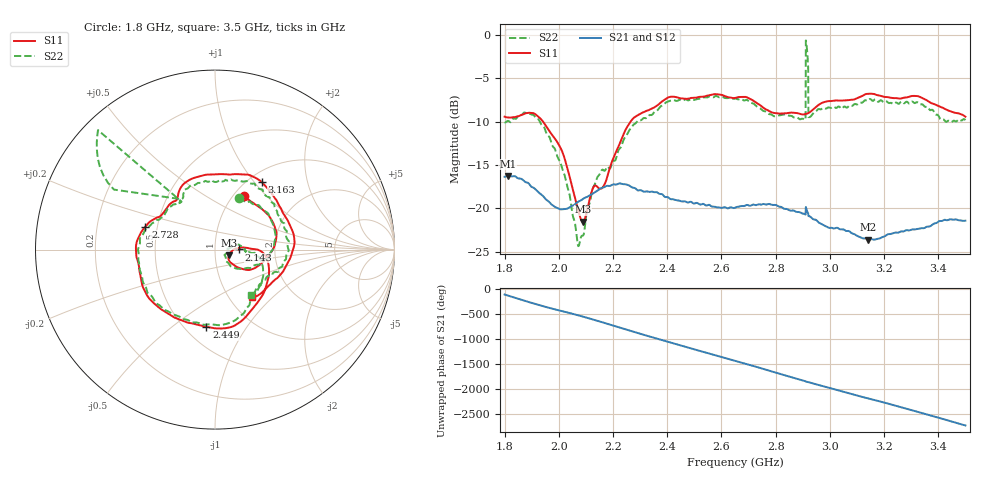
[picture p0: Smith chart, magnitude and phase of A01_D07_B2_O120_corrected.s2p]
! Created with skrf 1.9.0 (http://scikit-rf.org).
# Hz S RI R 50.0
!freq ReS11 ImS11 ReS21 ImS21 ReS12 ImS12 ReS22 ImS22
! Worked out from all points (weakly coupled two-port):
!   1601 points, 1.8 GHz to 3.5 GHz, reference 50 ohm
!   highest |S21| = -16.24 dB at 1.812 GHz (marker M1); lowest = -23.6 dB at 3.142 GHz (marker M2)
!   lowest |S11| = -21.5 dB at 2.089 GHz (marker M3), VSWR 1.18, Z = 58.3 - j3.68 ohm
!   |S11| at or under -10 dB: 1.942 GHz to 2.264 GHz (321.8 MHz wide, 15.3 % of centre)
!   |S22| runs from -24.3 to -0.6 dB; largest |S21 - S12| = 0.003
!   S11 on the Smith chart (normalised r, x): 1.8 GHz: 1.12, +0.75; 2.143 GHz: 1.31, +0.00; 2.449 GHz: 0.63, -0.67; 2.728 GHz: 0.43, +0.13; 3.163 GHz: 1.15, +1.10; 3.5 GHz: 1.27, -0.76
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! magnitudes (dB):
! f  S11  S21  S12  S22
! 1.8 GHz  -9.4  -16.3  -16.4  -10.0
! 1.812 GHz  -9.5  -16.2  -16.3  -9.9
! 1.942 GHz  -10.0  -18.6  -18.6  -10.5
! 2.014 GHz  -13.5  -20.1  -20.1  -15.5
! 2.069 GHz  -19.9  -19.3  -19.3  -24.0
! 2.084 GHz  -21.4  -19.0  -19.0  -23.2
! 2.089 GHz  -21.5  -18.9  -18.9  -23.1
! 2.143 GHz  -17.5  -17.9  -17.9  -16.3
! 2.265 GHz  -9.9  -17.5  -17.5  -10.8
! 2.367 GHz  -8.0  -18.2  -18.2  -8.5
! 2.449 GHz  -7.3  -19.1  -19.2  -7.5
! 2.65 GHz  -7.2  -19.9  -19.9  -7.3
! 2.728 GHz  -7.8  -19.6  -19.6  -8.2
! 2.902 GHz  -9.2  -20.6  -20.6  -9.7
! 2.911 GHz  -9.1  -19.8  -19.8  -0.6
! 2.92 GHz  -9.0  -20.5  -20.5  -3.7
! 2.929 GHz  -8.8  -21.0  -21.0  -9.4
! 2.934 GHz  -8.7  -21.1  -21.1  -9.2
! 3.142 GHz  -6.8  -23.6  -23.5  -7.5
! 3.163 GHz  -6.8  -23.6  -23.6  -7.5
! 3.217 GHz  -7.2  -23.0  -22.9  -7.8
! 3.5 GHz  -9.4  -21.4  -21.4  -9.8
